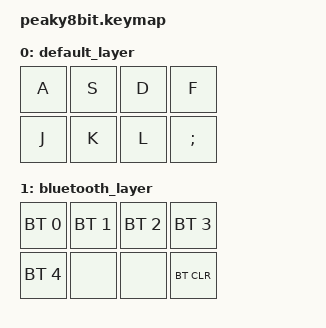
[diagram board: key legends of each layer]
// Plain home-row keymap for braille (Perkins-style) input:
//   left half "asdf" (dots 7 3 2 1), right half "jkl;" (dots 4 5 6 8).
//
// asdf together -> backspace
// jkl; together  -> space
// fjkl; together -> space, held around the whole of the next chord (e.g.
//                   fjkl; then fj sends space+f+j)
//
// Bluetooth: press all 8 keys together, then one key:
//   a s d f j -> select profile 0 1 2 3 4
//   ;         -> clear current profile's bond
//   k l       -> cancel
//
// Behaviour is covered by the simulator tests in tests/braille. The original
// chording keymap can be regenerated with docs/gen_keymap.py.

#include <behaviors.dtsi>
#include <dt-bindings/zmk/keys.h>
#include <dt-bindings/zmk/bt.h>

#define DEFAULT 0
#define BLUETOOTH 1

// Give some time after the prefix to press the selection key.
&sl {
    release-after-ms = <3000>;
};

/ {
    behaviors {
        chord_hold: chord_hold {
            compatible = "zmk,behavior-chord-hold";
            #binding-cells = <1>;
        };
    };

    combos {
        compatible = "zmk,combos";
        bluetooth_prefix {
            timeout-ms = <150>;
            key-positions = <0 1 2 3 4 5 6 7>;
            layers = <DEFAULT>;
            bindings = <&sl BLUETOOTH>;
        };
        backspace {
            timeout-ms = <150>;
            key-positions = <0 1 2 3>;
            layers = <DEFAULT>;
            bindings = <&kp BSPC>;
        };
        space {
            timeout-ms = <150>;
            key-positions = <4 5 6 7>;
            layers = <DEFAULT>;
            bindings = <&kp SPACE>;
        };
        held_space {
            timeout-ms = <150>;
            key-positions = <3 4 5 6 7>;
            layers = <DEFAULT>;
            bindings = <&chord_hold SPACE>;
        };
    };

    keymap {
        compatible = "zmk,keymap";
        default_layer {
            bindings = <
                &kp A  &kp S  &kp D  &kp F
                &kp J  &kp K  &kp L  &kp SEMI
            >;
        };
        bluetooth_layer {
            bindings = <
                &bt BT_SEL 0  &bt BT_SEL 1  &bt BT_SEL 2  &bt BT_SEL 3
                &bt BT_SEL 4  &none         &none         &bt BT_CLR
            >;
        };
    };
};
